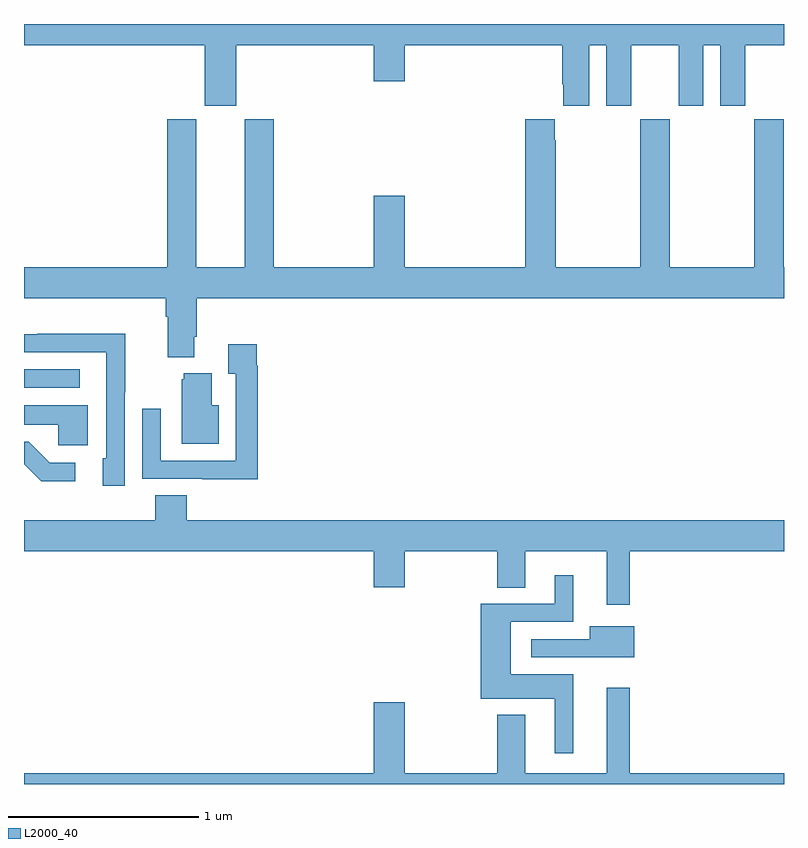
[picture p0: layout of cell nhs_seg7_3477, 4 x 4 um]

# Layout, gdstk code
import gdstk
lib = gdstk.Library(unit=1e-6, precision=1e-09)
def R(c, l, rs):  # rectangles x0, y0, x1, y1
    for r in rs: c.add(gdstk.rectangle(r[:2], r[2:], *l))
def P(c, l, *ps):  # polygons
    for p in ps: c.add(gdstk.Polygon(p, *l))
L2000_40 = (2000, 40)

nhs_seg7_3477 = lib.new_cell('nhs_seg7_3477')
R(nhs_seg7_3477, L2000_40, [(331,1060.086,331.294,1060.182)])
P(nhs_seg7_3477, L2000_40, [(332.116,1061.888),(332.84,1061.888),(332.84,1061.7),(333.004,1061.7),(333.004,1061.888),(333.833,1061.888),(333.833,1061.683),(333.839,1061.683),(333.839,1061.571),(333.976,1061.571),(333.976,1061.888),(334.064,1061.888),(334.064,1061.571),(334.195,1061.571),(334.195,1061.888),(334.445,1061.888),(334.445,1061.571),(334.576,1061.571),(334.576,1061.888),(334.664,1061.888),(334.664,1061.571),(334.795,1061.571),(334.795,1061.888),(335,1061.888),(335,1062),(331,1062),(331,1061.888),(331.952,1061.888),(331.952,1061.571),(332.116,1061.571)],
  [(331.897,1060.354),(331.91,1060.354),(331.91,1060.556),(335,1060.556),(335,1060.72),(334.998,1060.72),(334.998,1061.5),(334.843,1061.5),(334.843,1060.72),(334.398,1060.72),(334.398,1061.5),(334.243,1061.5),(334.243,1060.72),(333.798,1060.72),(333.798,1061.387),(333.793,1061.387),(333.793,1061.5),(333.638,1061.5),(333.638,1060.72),(333.004,1060.72),(333.004,1061.095),(332.84,1061.095),(332.84,1060.72),(332.315,1060.72),(332.315,1061.499),(332.162,1061.499),(332.162,1060.72),(331.906,1060.72),(331.906,1061.499),(331.754,1061.499),(331.754,1060.72),(331,1060.72),(331,1060.556),(331.745,1060.556),(331.745,1060.46),(331.757,1060.46),(331.757,1060.247),(331.897,1060.247)],
  [(331.53,1060.063),(331.533,1060.063),(331.533,1060.37),(331.069,1060.37),(331.069,1060.368),(331,1060.368),(331,1060.272),(331.433,1060.272),(331.433,1060.018),(331.434,1060.018),(331.434,1059.714),(331.415,1059.714),(331.415,1059.57),(331.53,1059.57)],
  [(332.231,1060.202),(332.224,1060.202),(332.224,1060.315),(332.075,1060.315),(332.075,1060.159),(332.115,1060.159),(332.115,1059.702),(331.719,1059.702),(331.719,1059.976),(331.623,1059.976),(331.623,1059.606),(331.939,1059.606),(331.939,1059.605),(332.231,1059.605)],
  [(332.026,1059.994),(331.987,1059.994),(331.987,1060.162),(331.841,1060.162),(331.841,1060.131),(331.829,1060.131),(331.829,1059.791),(332.026,1059.791)],
  [(331.336,1059.994),(331,1059.994),(331,1059.89),(331.179,1059.89),(331.179,1059.782),(331.336,1059.782)],
  [(331.27,1059.69),(331.135,1059.69),(331.024,1059.801),(331,1059.801),(331,1059.683),(331.091,1059.593),(331.27,1059.593)],
  [(331.856,1059.521),(331.691,1059.521),(331.691,1059.388),(331,1059.388),(331,1059.224),(332.84,1059.224),(332.84,1059.036),(333.004,1059.036),(333.004,1059.224),(333.49,1059.224),(333.49,1059.034),(333.637,1059.034),(333.637,1059.224),(334.067,1059.224),(334.067,1058.943),(334.189,1058.943),(334.189,1059.224),(335,1059.224),(335,1059.388),(331.856,1059.388)],
  [(333.892,1058.578),(333.562,1058.578),(333.562,1058.853),(333.892,1058.853),(333.892,1059.1),(333.794,1059.1),(333.794,1058.949),(333.404,1058.949),(333.404,1058.45),(333.794,1058.45),(333.794,1058.163),(333.892,1058.163)],
  [(334.213,1058.83),(333.977,1058.83),(333.977,1058.763),(333.669,1058.763),(333.669,1058.667),(333.981,1058.667),(333.981,1058.666),(334.213,1058.666)],
  [(335,1058.056),(334.189,1058.056),(334.189,1058.506),(334.067,1058.506),(334.067,1058.056),(333.637,1058.056),(333.637,1058.365),(333.49,1058.365),(333.49,1058.056),(333.004,1058.056),(333.004,1058.431),(332.84,1058.431),(332.84,1058.056),(331,1058.056),(331,1058),(335,1058)])

lib.write_gds('nhs_seg7_3477.gds')
